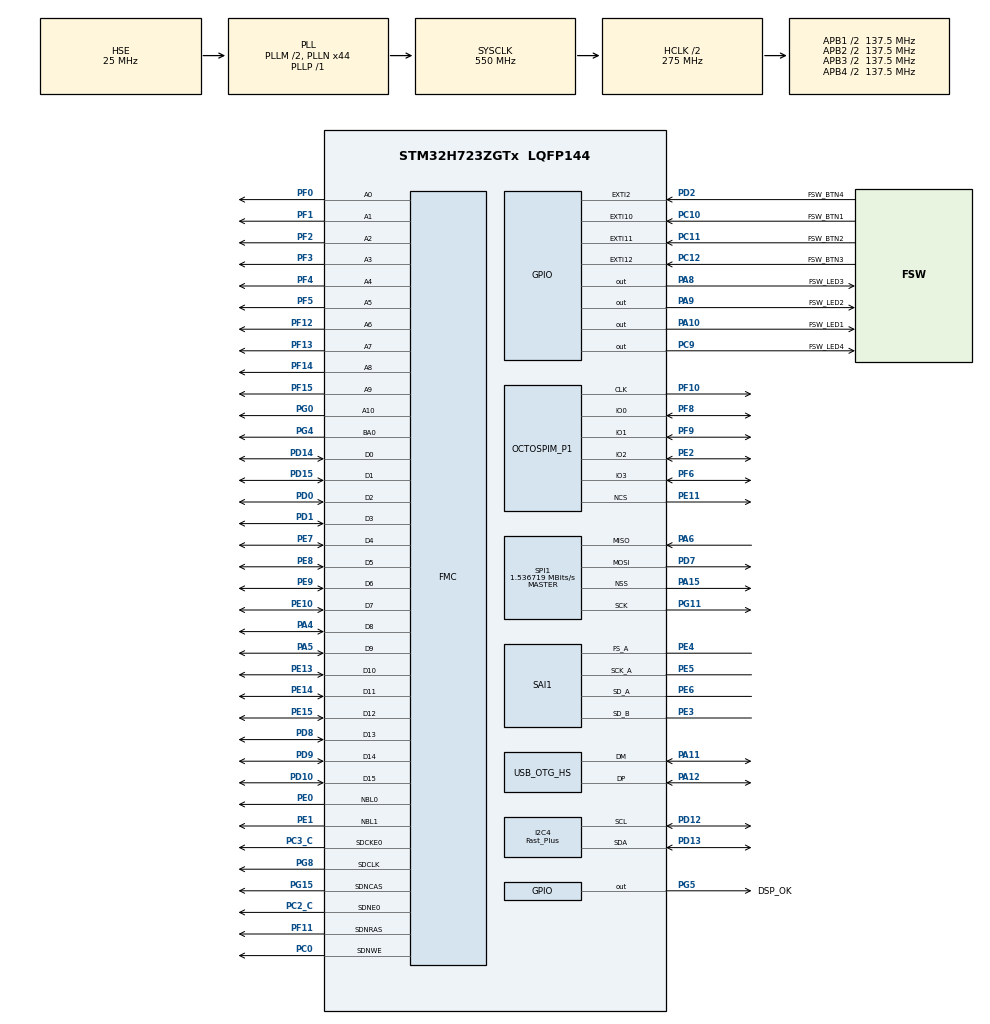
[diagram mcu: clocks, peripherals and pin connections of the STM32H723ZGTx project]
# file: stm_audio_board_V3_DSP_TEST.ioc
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CORTEX_M7.CPU_DCache=Enabled
CORTEX_M7.CPU_ICache=Enabled
CORTEX_M7.MPU_Control=__NULL
CORTEX_M7.default_mode_Activation=1
Dma.Request0=SAI1_A
Dma.Request1=SAI1_B
Dma.SAI1_A.0.Direction=DMA_MEMORY_TO_PERIPH
Dma.SAI1_A.0.EventEnable=DISABLE
Dma.SAI1_A.0.FIFOMode=DMA_FIFOMODE_DISABLE
Dma.SAI1_A.0.Instance=DMA1_Stream0
Dma.SAI1_A.0.MemDataAlignment=DMA_MDATAALIGN_WORD
Dma.SAI1_A.0.MemInc=DMA_MINC_ENABLE
Dma.SAI1_A.0.Mode=DMA_CIRCULAR
Dma.SAI1_A.0.PeriphDataAlignment=DMA_PDATAALIGN_WORD
Dma.SAI1_A.0.PeriphInc=DMA_PINC_DISABLE
Dma.SAI1_A.0.Polarity=HAL_DMAMUX_REQ_GEN_RISING
Dma.SAI1_A.0.Priority=DMA_PRIORITY_VERY_HIGH
Dma.SAI1_A.0.RequestNumber=1
Dma.SAI1_A.0.SignalID=NONE
Dma.SAI1_A.0.SyncEnable=DISABLE
Dma.SAI1_A.0.SyncPolarity=HAL_DMAMUX_SYNC_NO_EVENT
Dma.SAI1_A.0.SyncRequestNumber=1
Dma.SAI1_A.0.SyncSignalID=NONE
Dma.SAI1_B.1.Direction=DMA_PERIPH_TO_MEMORY
Dma.SAI1_B.1.EventEnable=DISABLE
Dma.SAI1_B.1.FIFOMode=DMA_FIFOMODE_DISABLE
Dma.SAI1_B.1.Instance=DMA2_Stream0
Dma.SAI1_B.1.MemDataAlignment=DMA_MDATAALIGN_WORD
Dma.SAI1_B.1.MemInc=DMA_MINC_ENABLE
Dma.SAI1_B.1.Mode=DMA_CIRCULAR
Dma.SAI1_B.1.PeriphDataAlignment=DMA_PDATAALIGN_WORD
Dma.SAI1_B.1.PeriphInc=DMA_PINC_DISABLE
Dma.SAI1_B.1.Polarity=HAL_DMAMUX_REQ_GEN_RISING
Dma.SAI1_B.1.Priority=DMA_PRIORITY_VERY_HIGH
Dma.SAI1_B.1.RequestNumber=1
Dma.SAI1_B.1.SignalID=NONE
Dma.SAI1_B.1.SyncEnable=DISABLE
Dma.SAI1_B.1.SyncPolarity=HAL_DMAMUX_SYNC_NO_EVENT
Dma.SAI1_B.1.SyncRequestNumber=1
Dma.SAI1_B.1.SyncSignalID=NONE
FMC.CASLatency1=FMC_SDRAM_CAS_LATENCY_3
FMC.ExitSelfRefreshDelay1=16
FMC.LoadToActiveDelay1=16
FMC.RCDDelay1=16
FMC.RPDelay1=16
FMC.ReadBurst1=FMC_SDRAM_RBURST_ENABLE
FMC.ReadPipeDelay1=FMC_SDRAM_RPIPE_DELAY_2
FMC.RowCycleDelay1=16
FMC.SDClockPeriod1=FMC_SDRAM_CLOCK_PERIOD_2
FMC.SelfRefreshTime1=16
FMC.WriteRecoveryTime1=16
I2C4.I2C_Speed_Mode=I2C_Fast_Plus
I2C4.OwnAddress=16
I2C4.Timing=0x00601A5C
IWDG1.Prescaler=IWDG_PRESCALER_64
Mcu.Family=STM32H7
Mcu.Name=STM32H723ZGTx
Mcu.Package=LQFP144
NVIC.DMA1_Stream0_IRQn=true\:0\:0\:false\:false\:true\:false\:true\:true
NVIC.DMA2_Stream0_IRQn=true\:0\:0\:false\:false\:true\:false\:true\:true
NVIC.EXTI15_10_IRQn=true\:0\:0\:false\:false\:true\:true\:true\:true
NVIC.EXTI2_IRQn=true\:0\:0\:false\:false\:true\:true\:true\:true
NVIC.I2C4_ER_IRQn=true\:0\:0\:false\:false\:true\:true\:true\:true
NVIC.I2C4_EV_IRQn=true\:0\:0\:false\:false\:true\:true\:true\:true
NVIC.OTG_HS_IRQn=true\:0\:0\:false\:false\:true\:false\:true\:true
NVIC.PriorityGroup=NVIC_PRIORITYGROUP_4
NVIC.TIM2_IRQn=true\:0\:0\:false\:false\:true\:true\:true\:true
OCTOSPI1.ClockPrescaler=4
OCTOSPI1.DeviceSize=24
OCTOSPI1.FifoThreshold=4
OCTOSPI1.SampleShifting=HAL_OSPI_SAMPLE_SHIFTING_HALFCYCLE
PA10.GPIO_Label=FSW_LED1
PA10.Signal=GPIO_Output
PA11.Mode=Device_Only_FS
PA11.Signal=USB_OTG_HS_DM
PA12.Mode=Device_Only_FS
PA12.Signal=USB_OTG_HS_DP
PA15(JTDI).Mode=NSS_Signal_Hard_Output
PA15(JTDI).Signal=SPI1_NSS
PA4.Signal=FMC_D8_DA8
PA5.Signal=FMC_D9_DA9
PA6.Mode=Full_Duplex_Master
PA6.Signal=SPI1_MISO
PA8.GPIO_Label=FSW_LED3
PA8.Signal=GPIO_Output
PA9.GPIO_Label=FSW_LED2
PA9.Signal=GPIO_Output
PC0.GPIO_PuPd=GPIO_NOPULL
PC0.Signal=FMC_SDNWE
PC10.GPIO_Label=FSW_BTN1
PC10.GPIO_ModeDefaultEXTI=GPIO_MODE_IT_RISING_FALLING
PC10.Signal=GPXTI10
PC11.GPIO_Label=FSW_BTN2
PC11.GPIO_ModeDefaultEXTI=GPIO_MODE_IT_RISING_FALLING
PC11.Signal=GPXTI11
PC12.GPIO_Label=FSW_BTN3
PC12.GPIO_ModeDefaultEXTI=GPIO_MODE_IT_RISING_FALLING
PC12.Signal=GPXTI12
PC2_C.GPIO_PuPd=GPIO_NOPULL
PC2_C.Mode=SdramChipSelect1_1
PC2_C.Signal=FMC_SDNE0
PC3_C.GPIO_PuPd=GPIO_NOPULL
PC3_C.Mode=SdramChipSelect1_1
PC3_C.Signal=FMC_SDCKE0
PC9.GPIO_Label=FSW_LED4
PC9.Signal=GPIO_Output
PD0.Signal=FMC_D2_DA2
PD1.Signal=FMC_D3_DA3
PD10.Signal=FMC_D15_DA15
PD12.GPIO_Pu=GPIO_PULLUP
PD12.GPIO_Speed=GPIO_SPEED_FREQ_VERY_HIGH
PD12.Mode=I2C
PD12.Signal=I2C4_SCL
PD13.GPIO_Pu=GPIO_PULLUP
PD13.GPIO_Speed=GPIO_SPEED_FREQ_VERY_HIGH
PD13.Mode=I2C
PD13.Signal=I2C4_SDA
PD14.Signal=FMC_D0_DA0
PD15.Signal=FMC_D1_DA1
PD2.GPIO_Label=FSW_BTN4
PD2.GPIO_ModeDefaultEXTI=GPIO_MODE_IT_RISING_FALLING
PD2.Signal=GPXTI2
PD7.Mode=Full_Duplex_Master
PD7.Signal=SPI1_MOSI
PD8.Signal=FMC_D13_DA13
PD9.Signal=FMC_D14_DA14
PE0.GPIO_PuPd=GPIO_NOPULL
PE0.Signal=FMC_NBL0
PE1.GPIO_PuPd=GPIO_NOPULL
PE1.Signal=FMC_NBL1
PE10.Signal=FMC_D7_DA7
PE11.Mode=OCTOSPI1_Port1_NCS
PE11.Signal=OCTOSPIM_P1_NCS
PE13.Signal=FMC_D10_DA10
PE14.Signal=FMC_D11_DA11
PE15.Signal=FMC_D12_DA12
PE2.Mode=OCTOSPI1_IOL_Port1L
PE2.Signal=OCTOSPIM_P1_IO2
PE3.Mode=SAI_B_SyncSlave
PE3.Signal=SAI1_SD_B
PE4.Mode=SAI_A_Master
PE4.Signal=SAI1_FS_A
PE5.Mode=SAI_A_Master
PE5.Signal=SAI1_SCK_A
PE6.Mode=SAI_A_Master
PE6.Signal=SAI1_SD_A
PE7.Signal=FMC_D4_DA4
PE8.Signal=FMC_D5_DA5
PE9.Signal=FMC_D6_DA6
PF0.Signal=FMC_A0
PF1.Signal=FMC_A1
PF10.Mode=O1_P1_CLK
PF10.Signal=OCTOSPIM_P1_CLK
PF11.GPIO_PuPd=GPIO_NOPULL
PF11.Signal=FMC_SDNRAS
PF12.Signal=FMC_A6
PF13.Signal=FMC_A7
PF14.Signal=FMC_A8
PF15.Signal=FMC_A9
PF2.Signal=FMC_A2
PF3.Signal=FMC_A3
PF4.Signal=FMC_A4
PF5.Signal=FMC_A5
PF6.Mode=OCTOSPI1_IOL_Port1L
PF6.Signal=OCTOSPIM_P1_IO3
PF8.Mode=OCTOSPI1_IOL_Port1L
PF8.Signal=OCTOSPIM_P1_IO0
PF9.Mode=OCTOSPI1_IOL_Port1L
PF9.Signal=OCTOSPIM_P1_IO1
PG0.Signal=FMC_A10
PG11.Mode=Full_Duplex_Master
PG11.Signal=SPI1_SCK
PG15.GPIO_PuPd=GPIO_NOPULL
PG15.Signal=FMC_SDNCAS
PG4.GPIO_PuPd=GPIO_NOPULL
PG4.Signal=FMC_A14_BA0
PG5.GPIO_Label=DSP_OK
PG5.GPIO_ModeDefaultOutputPP=GPIO_MODE_OUTPUT_PP
PG5.GPIO_PuPd=GPIO_PULLUP
PG5.PinState=GPIO_PIN_SET
PG5.Signal=GPIO_Output
PG8.GPIO_PuPd=GPIO_NOPULL
PG8.Signal=FMC_SDCLK
PH0-OSC_IN.Mode=HSE-External-Oscillator
PH0-OSC_IN.Signal=RCC_OSC_IN
PH1-OSC_OUT.Mode=HSE-External-Oscillator
PH1-OSC_OUT.Signal=RCC_OSC_OUT
ProjectManager.HeapSize=0x2000
ProjectManager.StackSize=0x4000
ProjectManager.TargetToolchain=STM32CubeIDE
RCC.ADCFreq_Value=50390625
RCC.APB1Freq_Value=137500000
RCC.APB2Freq_Value=137500000
RCC.APB3Freq_Value=137500000
RCC.APB4Freq_Value=137500000
RCC.CortexFreq_Value=550000000
RCC.D1PPRE=RCC_APB3_DIV2
RCC.D2PPRE1=RCC_APB1_DIV2
RCC.D2PPRE2=RCC_APB2_DIV2
RCC.D3PPRE=RCC_APB4_DIV2
RCC.DIVM1=2
RCC.DIVM3=5
RCC.DIVN1=44
RCC.DIVN3=157
RCC.DIVP1=1
RCC.DIVP3=8
RCC.HCLKFreq_Value=275000000
RCC.HPRE=RCC_HCLK_DIV2
RCC.PLL2FRACN=0
RCC.PLL3FRACN=2950
RCC.PLLFRACN=0
RCC.PLLSourceVirtual=RCC_PLLSOURCE_HSE
RCC.PWR_Regulator_Voltage_Scale=PWR_REGULATOR_VOLTAGE_SCALE0
RCC.SAI1CLockSelection=RCC_SAI1CLKSOURCE_PLL3
RCC.SPI123CLockSelection=RCC_SPI123CLKSOURCE_PLL3
RCC.SYSCLKFreq_VALUE=550000000
RCC.SYSCLKSource=RCC_SYSCLKSOURCE_PLLCLK
RCC.USBCLockSelection=RCC_USBCLKSOURCE_HSI48
RCC.USBFreq_Value=48000000
SAI1.AudioFrequency-SAI_A_Master=SAI_AUDIO_FREQUENCY_48K
SAI1.BasicDataSize-SAI_A_Master=SAI_PROTOCOL_DATASIZE_24BIT
SAI1.BasicDataSize-SAI_B_SyncSlave=SAI_PROTOCOL_DATASIZE_24BIT
SAI1.BasicSlotNumber-SAI_A_Master=8
SAI1.BasicSlotNumber-SAI_B_SyncSlave=8
SAI1.ErrorAudioFreq-SAI_A_Master=0.04 %
SAI1.InitProtocol-SAI_A_Master=Enable
SAI1.InitProtocol-SAI_B_SyncSlave=Enable
SAI1.Instance-SAI_A_Master=SAI$Index_Block_A
SAI1.Instance-SAI_B_SyncSlave=SAI$Index_Block_B
SAI1.MckOutput-SAI_A_Master=SAI_MCK_OUTPUT_DISABLE
SAI1.RealAudioFreq-SAI_A_Master=48.022 KHz
SAI1.VirtualMode-SAI_A_Master=VM_MASTER
SAI1.VirtualMode-SAI_B_SyncSlave=VM_SLAVE
SAI1.VirtualProtocol-SAI_A_BASIC=VM_BASIC_PROTOCOL
SAI1.VirtualProtocol-SAI_B_BASIC=VM_BASIC_PROTOCOL
SH.FMC_A0.0=FMC_A0,11b-sda1
SH.FMC_A1.0=FMC_A1,11b-sda1
SH.FMC_A10.0=FMC_A10,11b-sda1
SH.FMC_A14_BA0.0=FMC_BA0,TwoSdramBanks1
SH.FMC_A2.0=FMC_A2,11b-sda1
SH.FMC_A3.0=FMC_A3,11b-sda1
SH.FMC_A4.0=FMC_A4,11b-sda1
SH.FMC_A5.0=FMC_A5,11b-sda1
SH.FMC_A6.0=FMC_A6,11b-sda1
SH.FMC_A7.0=FMC_A7,11b-sda1
SH.FMC_A8.0=FMC_A8,11b-sda1
SH.FMC_A9.0=FMC_A9,11b-sda1
SH.FMC_D0_DA0.0=FMC_D0,sd-16b-d1
SH.FMC_D10_DA10.0=FMC_D10,sd-16b-d1
SH.FMC_D11_DA11.0=FMC_D11,sd-16b-d1
SH.FMC_D12_DA12.0=FMC_D12,sd-16b-d1
SH.FMC_D13_DA13.0=FMC_D13,sd-16b-d1
SH.FMC_D14_DA14.0=FMC_D14,sd-16b-d1
SH.FMC_D15_DA15.0=FMC_D15,sd-16b-d1
SH.FMC_D1_DA1.0=FMC_D1,sd-16b-d1
SH.FMC_D2_DA2.0=FMC_D2,sd-16b-d1
SH.FMC_D3_DA3.0=FMC_D3,sd-16b-d1
SH.FMC_D4_DA4.0=FMC_D4,sd-16b-d1
SH.FMC_D5_DA5.0=FMC_D5,sd-16b-d1
SH.FMC_D6_DA6.0=FMC_D6,sd-16b-d1
SH.FMC_D7_DA7.0=FMC_D7,sd-16b-d1
SH.FMC_D8_DA8.0=FMC_D8,sd-16b-d1
SH.FMC_D9_DA9.0=FMC_D9,sd-16b-d1
SH.FMC_NBL0.0=FMC_NBL0,Sd2ByteEnable1
SH.FMC_NBL1.0=FMC_NBL1,Sd2ByteEnable1
SH.FMC_SDCLK.0=FMC_SDCLK,11b-sda1
SH.FMC_SDNCAS.0=FMC_SDNCAS,11b-sda1
SH.FMC_SDNRAS.0=FMC_SDNRAS,11b-sda1
SH.FMC_SDNWE.0=FMC_SDNWE,11b-sda1
SPI1.BaudRatePrescaler=SPI_BAUDRATEPRESCALER_64
SPI1.CalculateBaudRate=1.536719 MBits/s
SPI1.DataSize=SPI_DATASIZE_8BIT
SPI1.Direction=SPI_DIRECTION_2LINES
SPI1.Mode=SPI_MODE_MASTER
SPI1.VirtualNSS=VM_NSSHARD
SPI1.VirtualType=VM_MASTER
TIM2.Period=999
TIM2.Prescaler=137
USB_DEVICE.CLASS_NAME_HS=CDC
USB_DEVICE.MANUFACTURER_STRING=SABeffects
USB_DEVICE.PID_CDC_HS=12222
USB_DEVICE.PRODUCT_STRING_CDC_HS=SAB_DSP_APP
USB_DEVICE.VirtualMode=Cdc
USB_DEVICE.VirtualModeHS=Cdc_HS
USB_OTG_HS.VirtualMode-Device_Only_FS=Device_Only_FS
VP_IWDG1_VS_IWDG.Mode=IWDG_Activate
VP_MEMORYMAP_VS_MEMORYMAP.Mode=CurAppReg
VP_OCTOSPI1_VS_quad.Mode=quad_mode
VP_SAI1_VP_$IpInstance_SAIA_SAI_BASIC.Mode=SAI_A_BASIC
VP_SAI1_VP_$IpInstance_SAIB_SAI_BASIC.Mode=SAI_B_BASIC
VP_TIM2_VS_ClockSourceINT.Mode=Internal
VP_USB_DEVICE_VS_USB_DEVICE_CDC_HS.Mode=CDC_HS
board=custom

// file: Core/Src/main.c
/* USER CODE BEGIN Header */
/**
  ******************************************************************************
  * @file           : main.c
  * @brief          : Main program body
  ******************************************************************************
  * @attention
  *
  * Copyright (c) 2024 STMicroelectronics.
  * All rights reserved.
  *
  * This software is licensed under terms that can be found in the LICENSE file
  * in the root directory of this software component.
  * If no LICENSE file comes with this software, it is provided AS-IS.
  *
  ******************************************************************************
  */
/* USER CODE END Header */
#include "main.h"
#include "dma.h"
#include "i2c.h"
#include "iwdg.h"
#include "octospi.h"
#include "sai.h"
#include "spi.h"
#include "tim.h"
#include "usb_device.h"
#include "gpio.h"
#include "fmc.h"

/* USER CODE BEGIN Includes */
#include "stm32h7xx_hal.h"
#include "AD1939_driver.h"
#include "usbd_cdc_if.h"
// #include "usbd_core.h"
//#include "usbd_audio.h"
// #include "usbd_desc.h"
//#include "usbd_audio_if.h"
// #include "usb_device.h"
#include "string.h"
#include <math.h>
#include "arm_math.h"

// SAB specifics------START----
// Effects libs
#include "sab_intercom.h"

#include "FLASH_SECTOR_H7.h"
#include "SAB_custom_fx.h"
#include "SAB_fx_manager.h"
#include "sdram_memory_handler.h"

// SAB specifics------END----
/* USER CODE END Includes */

void SystemClock_Config(void);
void PeriphCommonClock_Config(void);

/* USER CODE BEGIN 0 */

// IN2 - OUT1
//

// ADC4-ADC1 position in TDM I2S
#define IN1_ADC_NUM 3
#define IN2_ADC_NUM 2
#define IN3_ADC_NUM 1
#define IN4_ADC_NUM 0
// DAC position in TDM I2S
#define OUT1_DAC_NUM 7 // ok
#define OUT2_DAC_NUM 6
#define OUT3_DAC_NUM 4
#define OUT4_DAC_NUM 5

volatile uint8_t 			ADC_HALF_COMPLETE_FLAG = 0;
volatile uint8_t 			DAC_HALF_COMPLETE_FLAG = 0;
uint32_t input_i2s_buffer_au32[16];
uint32_t output_i2s_buffer_au32[16];

SAB_IO_HADRWARE_BUFFERS effects_io_port;

void HAL_SAI_TxCpltCallback(SAI_HandleTypeDef *hsai){
	DAC_HALF_COMPLETE_FLAG = 0;
	output_i2s_buffer_au32[8+OUT1_DAC_NUM] = effects_io_port.out1_i32>>8;
	output_i2s_buffer_au32[8+OUT2_DAC_NUM] = effects_io_port.out2_i32>>8;
	output_i2s_buffer_au32[8+OUT3_DAC_NUM] = effects_io_port.out3_i32>>8;
	output_i2s_buffer_au32[8+OUT4_DAC_NUM] = effects_io_port.out4_i32>>8;
  SCB_CleanDCache_by_Addr(output_i2s_buffer_au32, sizeof(output_i2s_buffer_au32)/2);
}
void HAL_SAI_TxHalfCpltCallback(SAI_HandleTypeDef *hsai){
	DAC_HALF_COMPLETE_FLAG = 1;
	output_i2s_buffer_au32[OUT1_DAC_NUM] = effects_io_port.out1_i32>>8;
	output_i2s_buffer_au32[OUT2_DAC_NUM] = effects_io_port.out2_i32>>8;
	output_i2s_buffer_au32[OUT3_DAC_NUM] = effects_io_port.out3_i32>>8;
	output_i2s_buffer_au32[OUT4_DAC_NUM] = effects_io_port.out4_i32>>8;
  SCB_CleanDCache_by_Addr(&output_i2s_buffer_au32[8], sizeof(output_i2s_buffer_au32)/2);
}

volatile uint8_t 			ADC_READY_FLAG = 0;

void HAL_SAI_RxCpltCallback(SAI_HandleTypeDef *hsai){
	ADC_HALF_COMPLETE_FLAG = 0;
	ADC_READY_FLAG = 1;
  SCB_InvalidateDCache_by_Addr(input_i2s_buffer_au32, sizeof(input_i2s_buffer_au32)/2);
	effects_io_port.in1_i32 = input_i2s_buffer_au32[8+IN1_ADC_NUM]<<8;
	effects_io_port.in2_i32 = input_i2s_buffer_au32[8+IN2_ADC_NUM]<<8;
	effects_io_port.in3_i32 = input_i2s_buffer_au32[8+IN3_ADC_NUM]<<8;
	effects_io_port.in4_i32 = input_i2s_buffer_au32[8+IN4_ADC_NUM]<<8;
}
void HAL_SAI_RxHalfCpltCallback(SAI_HandleTypeDef *hsai){
	ADC_HALF_COMPLETE_FLAG = 1;
	ADC_READY_FLAG = 1;

  	SCB_InvalidateDCache_by_Addr(&input_i2s_buffer_au32[8], sizeof(input_i2s_buffer_au32)/2);
	effects_io_port.in1_i32 = input_i2s_buffer_au32[IN1_ADC_NUM]<<8;
	effects_io_port.in2_i32 = input_i2s_buffer_au32[IN2_ADC_NUM]<<8;
	effects_io_port.in3_i32 = input_i2s_buffer_au32[IN3_ADC_NUM]<<8;
	effects_io_port.in4_i32 = input_i2s_buffer_au32[IN4_ADC_NUM]<<8;
}

#define ARRAY_SIZE 96000

/* Ask the resident bootloader to stay in CDC update mode after reset. */
void JumpToBootloader(void)
{
	  HAL_PWR_EnableBkUpAccess();
	  RTC->BKP0R = 0x53414255UL;
	  NVIC_SystemReset();
}

sab_intercom_tst 	 intercom_st __attribute__((section(".noncacheable_data")));
SAB_fx_manager_tst SAB_fx_manager_st;

/*
 * HW BTN INTERRUPT FUNCTIONS ----------------------------
 */

//volatile uint8_t enable_effect = 1;
volatile uint8_t fsw_btn_1_pressed __attribute__((section(".noncacheable_data"))) = 0;
volatile uint8_t fsw_btn_2_pressed __attribute__((section(".noncacheable_data"))) = 0;
volatile uint8_t fsw_btn_3_pressed __attribute__((section(".noncacheable_data"))) = 0;
volatile uint8_t fsw_btn_4_pressed __attribute__((section(".noncacheable_data"))) = 0;
// EXTI Line9 External Interrupt ISR Handler CallBackFun
void HAL_GPIO_EXTI_Callback(uint16_t GPIO_Pin)
{
    if(GPIO_Pin == FSW_BTN1_Pin) // If The INT Source Is EXTI Line9 (A9 Pin)
    {
    	fsw_btn_1_pressed = 1;
    }
    if(GPIO_Pin == FSW_BTN2_Pin) // If The INT Source Is EXTI Line9 (A9 Pin)
	{
		fsw_btn_2_pressed = 1;
	}
    if(GPIO_Pin == FSW_BTN3_Pin) // If The INT Source Is EXTI Line9 (A9 Pin)
	{
		fsw_btn_3_pressed = 1;
	}
    if(GPIO_Pin == FSW_BTN4_Pin) // If The INT Source Is EXTI Line9 (A9 Pin)
	{
		fsw_btn_4_pressed = 1;
	}
}

/*
 * FSW HANDLING ----------------------------
 * Single press: FSW1->mode A, FSW2->B, FSW3->C, FSW4->D.
 * Chord (both pressed within FSW_CHORD_WINDOW_MS): FSW1+FSW2 = preset up,
 *                                                  FSW3+FSW4 = preset down,
 *                                                  FSW2+FSW3 = tuner toggle.
 */
#define FSW_CHORD_WINDOW_MS 80U

static uint8_t  fsw_pending_id_u8    = 0; // switch (1..4) waiting for chord check, 0 = none
static uint32_t fsw_pending_tick_u32 = 0;

static inline fx_active_modes_ten fsw_to_mode(uint8_t id_u8){
	// Physical switch order is A B C D: pin FSW_BTN4 drives the first physical
	// switch, so the pin->mode map is reversed relative to the pin numbers.
	switch(id_u8){
		case 1: return PRESET_MODE_D;
		case 2: return PRESET_MODE_C;
		case 3: return PRESET_MODE_B;
		default: return PRESET_MODE_A;
	}
}

static inline uint8_t fsw_is_chord_pair(uint8_t a_u8, uint8_t b_u8){
	return ((a_u8 == 1 && b_u8 == 2) || (a_u8 == 2 && b_u8 == 1) ||
	        (a_u8 == 3 && b_u8 == 4) || (a_u8 == 4 && b_u8 == 3) ||
	        (a_u8 == 2 && b_u8 == 3) || (a_u8 == 3 && b_u8 == 2)); // FS2+FS3 = tuner
}

// LEDs show the active mode. Physical LED order is A B C D but the pins are
// wired reversed (FSW_LED1 drives the last physical LED), so the map is inverted.
static inline void fsw_leds_update(fx_active_modes_ten mode_en, uint8_t tuner_on_u8){
	if(tuner_on_u8){ // Tuner active -> light the SW2 + SW3 LEDs
		HAL_GPIO_WritePin(FSW_LED1_GPIO_Port, FSW_LED1_Pin, 0);
		HAL_GPIO_WritePin(FSW_LED2_GPIO_Port, FSW_LED2_Pin, 1);
		HAL_GPIO_WritePin(FSW_LED3_GPIO_Port, FSW_LED3_Pin, 1);
		HAL_GPIO_WritePin(FSW_LED4_GPIO_Port, FSW_LED4_Pin, 0);
	} else {
		HAL_GPIO_WritePin(FSW_LED1_GPIO_Port, FSW_LED1_Pin, (mode_en == PRESET_MODE_D) ? 1 : 0);
		HAL_GPIO_WritePin(FSW_LED2_GPIO_Port, FSW_LED2_Pin, (mode_en == PRESET_MODE_C) ? 1 : 0);
		HAL_GPIO_WritePin(FSW_LED3_GPIO_Port, FSW_LED3_Pin, (mode_en == PRESET_MODE_B) ? 1 : 0);
		HAL_GPIO_WritePin(FSW_LED4_GPIO_Port, FSW_LED4_Pin, (mode_en == PRESET_MODE_A) ? 1 : 0);
	}
}

static inline void fsw_process(SAB_fx_manager_tst* mgr_pst){
	uint8_t p1 = fsw_btn_1_pressed, p2 = fsw_btn_2_pressed, p3 = fsw_btn_3_pressed, p4 = fsw_btn_4_pressed;
	if(p1 | p2 | p3 | p4){
		fsw_btn_1_pressed = 0; fsw_btn_2_pressed = 0; fsw_btn_3_pressed = 0; fsw_btn_4_pressed = 0;
		uint32_t now_u32 = HAL_GetTick();

		if((p1 && p2) || (p3 && p4) || (p2 && p3)){ // both seen in the same loop pass -> definite chord
			if(p1 && p2){ SAB_preset_up_pressed(mgr_pst); }
			else if(p3 && p4){ SAB_preset_down_pressed(mgr_pst); }
			else             { SAB_tuner_toggle(mgr_pst); } // FS2+FS3 -> tuner
			fsw_pending_id_u8 = 0;
		} else {
			uint8_t new_id_u8 = p1 ? 1 : (p2 ? 2 : (p3 ? 3 : 4));
			if(fsw_pending_id_u8 != 0 && ((now_u32 - fsw_pending_tick_u32) <= FSW_CHORD_WINDOW_MS)){
				if(fsw_is_chord_pair(fsw_pending_id_u8, new_id_u8)){ // completes a chord
					if(fsw_pending_id_u8 == 1 || new_id_u8 == 1){ SAB_preset_up_pressed(mgr_pst); }
					else if((fsw_pending_id_u8 == 2 && new_id_u8 == 3) || (fsw_pending_id_u8 == 3 && new_id_u8 == 2)){ SAB_tuner_toggle(mgr_pst); } // FS2+FS3 -> tuner
					else                                        { SAB_preset_down_pressed(mgr_pst); }
					fsw_pending_id_u8 = 0;
				} else { // not a chord pair: apply the old press, start pending on the new one
					SAB_set_preset_mode(mgr_pst, fsw_to_mode(fsw_pending_id_u8));
					fsw_pending_id_u8    = new_id_u8;
					fsw_pending_tick_u32 = now_u32;
				}
			} else { // nothing pending (or stale): wait for a possible chord partner
				fsw_pending_id_u8    = new_id_u8;
				fsw_pending_tick_u32 = now_u32;
			}
		}
	}
	// pending single press expired without its chord partner -> apply as mode set
	if(fsw_pending_id_u8 != 0 && ((HAL_GetTick() - fsw_pending_tick_u32) > FSW_CHORD_WINDOW_MS)){
		SAB_set_preset_mode(mgr_pst, fsw_to_mode(fsw_pending_id_u8));
		fsw_pending_id_u8 = 0;
	}
	fsw_leds_update(mgr_pst->preset_mode_st.preset_mode_en, mgr_pst->tuner_active_u8);
}

/*
 * I2C INTERRUPT FUNCTIONS ----------------------------
 */

#define RX_LEN 255
#define TX_LEN 255
uint8_t TX_Buffer [TX_LEN] = "ABCDEF" ; // DATA to send
volatile uint8_t RX_Buffer [RX_LEN] = "ABCDEF" ; // DATA to send
uint8_t tx_counter = 0;
uint8_t rx_counter = 0;
uint8_t commando = 0;
volatile uint8_t rx_reg = 0;

extern void HAL_I2C_ListenCpltCallback (I2C_HandleTypeDef *hi2c)
{
	HAL_I2C_EnableListen_IT(hi2c);
}

void HAL_I2C_ErrorCallback(I2C_HandleTypeDef *hi2c)
{
	if(rx_counter>0){
		intercom_st.register_addr_u8 = rx_reg;
		intercom_st.process_rx_buffer(&intercom_st, RX_Buffer, rx_counter-1);
		rx_counter = 0;
	}
	HAL_I2C_EnableListen_IT(hi2c);
}

extern void HAL_I2C_AddrCallback(I2C_HandleTypeDef *hi2c, uint8_t TransferDirection, uint16_t AddrMatchCode)
{
	if(TransferDirection == I2C_DIRECTION_TRANSMIT)
	{
		HAL_I2C_Slave_Sequential_Receive_IT(hi2c, &intercom_st.register_addr_buffer_u8, 1, I2C_FIRST_FRAME);
		rx_counter = 0;
	}
	else
	{
		intercom_st.register_addr_u8 = rx_reg;
		// if the master wants to READ the data
		HAL_I2C_Slave_Seq_Transmit_IT(hi2c, (uint8_t*)intercom_st.get_reg_data_ptr(&intercom_st), intercom_st.get_reg_data_len(&intercom_st), I2C_FIRST_AND_LAST_FRAME);
	}
}

void HAL_I2C_SlaveRxCpltCallback(I2C_HandleTypeDef *hi2c)
{
	if(0 == rx_counter){
		rx_reg = intercom_st.register_addr_buffer_u8;
	}
	HAL_I2C_Slave_Sequential_Receive_IT(hi2c, RX_Buffer+rx_counter, 1, I2C_NEXT_FRAME);
	rx_counter++;
}

void HAL_I2C_SlaveTxCpltCallback(I2C_HandleTypeDef *hi2c)
{
}

void I2C_Slave_Listen(void) {
	HAL_I2C_Slave_Receive_IT(&hi2c4, RX_Buffer, sizeof(RX_Buffer));
}

// Variables to store cycle counts
uint32_t startCycles, endCycles, totalCycles;
float32_t time_to_process_f32;

typedef struct {
    uint8_t  pressed_u8;          // 0 = OFF, 1 = ON (latched)
    uint32_t counter_ms_u32;  // last time button toggled
    uint32_t timeout_ms_u32;     // auto-off timeout (0 = disabled)
} latch_btn_tst;

// Button states
latch_btn_tst btn1_st = {0,0,500};
latch_btn_tst btn2_st = {0,0,500};
latch_btn_tst btn3_st = {0,0,500};
latch_btn_tst btn4_st = {0,0,500};

void HAL_TIM_PeriodElapsedCallback(TIM_HandleTypeDef* htim)
{
    // HAL_GPIO_TogglePin(DSP_OK_GPIO_Port, DSP_OK_Pin);
}

//#define APP_ADDRESS             0x08020000UL
//#define VECT_TAB_OFFSET 0x00020000U
/* USER CODE END 0 */

int main(void)
{

  /* USER CODE BEGIN 1 */
//	 SCB->VTOR = APP_ADDRESS;
  /* USER CODE END 1 */

  /* Enable the CPU Cache */

  /* Enable I-Cache---------------------------------------------------------*/
  SCB_EnableICache();

  /* Enable D-Cache---------------------------------------------------------*/
  SCB_EnableDCache();

  /* MCU Configuration--------------------------------------------------------*/

  /* Reset of all peripherals, Initializes the Flash interface and the Systick. */
  HAL_Init();

  /* Configure the system clock */
  SystemClock_Config();

  /* Configure the peripherals common clocks */
  PeriphCommonClock_Config();

  /* Initialize all configured peripherals */
  MX_GPIO_Init();
  MX_DMA_Init();
  MX_SAI1_Init();
  MX_SPI1_Init();
  MX_FMC_Init();
  MX_OCTOSPI1_Init();
  MX_I2C4_Init();
  MX_TIM2_Init();
  MX_USB_DEVICE_Init();
  MX_IWDG1_Init();
  /* USER CODE BEGIN 2 */
  HAL_TIM_Base_Start_IT(&htim2);
  // init SAI interface
	HAL_SAI_Transmit_DMA(&hsai_BlockA1, (uint8_t*)output_i2s_buffer_au32, 	16);
	HAL_SAI_Receive_DMA(&hsai_BlockB1, (uint8_t*)input_i2s_buffer_au32, 	16);

  // // init CODEC
	ad1939_init(&hspi1);
	init_intercom(&intercom_st, 0x10,&hi2c4);

  /* USER CODE END 2 */

  /* Infinite loop */
  /* USER CODE BEGIN WHILE */
	HAL_GPIO_WritePin(FSW_LED1_GPIO_Port, FSW_LED1_Pin, 0);
	HAL_GPIO_WritePin(FSW_LED2_GPIO_Port, FSW_LED2_Pin, 0);
	HAL_GPIO_WritePin(FSW_LED3_GPIO_Port, FSW_LED3_Pin, 0);
	HAL_GPIO_WritePin(FSW_LED4_GPIO_Port, FSW_LED4_Pin, 0);

	HAL_I2C_EnableListen_IT(&hi2c4);

	SAB_fx_manager_init(&SAB_fx_manager_st, &intercom_st, &effects_io_port, &fsw_btn_1_pressed, &fsw_btn_2_pressed);

    /* Enable the TRC (Trace) */
    // CoreDebug->DEMCR |= CoreDebug_DEMCR_TRCENA_Msk;

    // /* Unlock the DWT if it is locked (LAR register) */
    // // Some Cortex-M7 MCUs (including STM32H7) require this unlock sequence:
    // DWT->LAR = 0xC5ACCE55;

    // /* Reset the cycle counter */
    // DWT->CYCCNT = 0;

    // /* Enable the cycle counter */
    // DWT->CTRL |= DWT_CTRL_CYCCNTENA_Msk;
    clear_sdram_memory();
    uint32_t last_blink_tick = 0;
  while (1)
  {
//	  HAL_GPIO_WritePin(DSP_OK_GPIO_Port, DSP_OK_Pin, 0);
//	  HAL_GPIO_TogglePin(DSP_OK_GPIO_Port, DSP_OK_Pin);
     if ((HAL_GetTick() - last_blink_tick) >=250)
      {
    	 HAL_IWDG_Refresh(&hiwdg1);
        HAL_GPIO_TogglePin(DSP_OK_GPIO_Port, DSP_OK_Pin);
        last_blink_tick = HAL_GetTick();
      }
      FW_Update_Process();
      if (FW_Update_ResetRequested() != 0U)
      {
//        HAL_Delay(20);
        NVIC_SystemReset();
      }

	 if(intercom_st.save_un.save_command>0){
	 	SAB_save_preset_to_flash(&SAB_fx_manager_st);
	 	intercom_st.save_un.save_command = 0;
	 }
	 if(intercom_st.dsp_fw_update_flg){
	 	JumpToBootloader();
	 }

	   if(ADC_READY_FLAG){
	 	  ADC_READY_FLAG = 0;
	 	  // // Reset the counter to ensure a clean start
	 	  //     DWT->CYCCNT = 0;

	 	  //     // Record the starting cycle count
	 	  //     startCycles = DWT->CYCCNT;
	 	SAB_fx_manager_process(&SAB_fx_manager_st);
	 	 // Record the ending cycle count
	 	    // endCycles = DWT->CYCCNT;

	 	    // // Calculate the difference
	 	    // totalCycles = endCycles - startCycles;

	 	    // time_to_process_f32 = (float)totalCycles/550;
	 	fsw_process(&SAB_fx_manager_st);

	  }
    /* USER CODE END WHILE */

  }
}

void SystemClock_Config(void)
{
  RCC_OscInitTypeDef RCC_OscInitStruct = {0};
  RCC_ClkInitTypeDef RCC_ClkInitStruct = {0};

  /** Supply configuration update enable
  */
  HAL_PWREx_ConfigSupply(PWR_LDO_SUPPLY);

  /** Configure the main internal regulator output voltage
  */
  __HAL_PWR_VOLTAGESCALING_CONFIG(PWR_REGULATOR_VOLTAGE_SCALE0);

  while(!__HAL_PWR_GET_FLAG(PWR_FLAG_VOSRDY)) {}

  /** Initializes the RCC Oscillators according to the specified parameters
  * in the RCC_OscInitTypeDef structure.
  */
  RCC_OscInitStruct.OscillatorType = RCC_OSCILLATORTYPE_HSI48|RCC_OSCILLATORTYPE_LSI
                              |RCC_OSCILLATORTYPE_HSE;
  RCC_OscInitStruct.HSEState = RCC_HSE_ON;
  RCC_OscInitStruct.LSIState = RCC_LSI_ON;
  RCC_OscInitStruct.HSI48State = RCC_HSI48_ON;
  RCC_OscInitStruct.PLL.PLLState = RCC_PLL_ON;
  RCC_OscInitStruct.PLL.PLLSource = RCC_PLLSOURCE_HSE;
  RCC_OscInitStruct.PLL.PLLM = 2;
  RCC_OscInitStruct.PLL.PLLN = 44;
  RCC_OscInitStruct.PLL.PLLP = 1;
  RCC_OscInitStruct.PLL.PLLQ = 2;
  RCC_OscInitStruct.PLL.PLLR = 2;
  RCC_OscInitStruct.PLL.PLLRGE = RCC_PLL1VCIRANGE_3;
  RCC_OscInitStruct.PLL.PLLVCOSEL = RCC_PLL1VCOWIDE;
  RCC_OscInitStruct.PLL.PLLFRACN = 0;
  if (HAL_RCC_OscConfig(&RCC_OscInitStruct) != HAL_OK)
  {
    Error_Handler();
  }

  /** Initializes the CPU, AHB and APB buses clocks
  */
  RCC_ClkInitStruct.ClockType = RCC_CLOCKTYPE_HCLK|RCC_CLOCKTYPE_SYSCLK
                              |RCC_CLOCKTYPE_PCLK1|RCC_CLOCKTYPE_PCLK2
                              |RCC_CLOCKTYPE_D3PCLK1|RCC_CLOCKTYPE_D1PCLK1;
  RCC_ClkInitStruct.SYSCLKSource = RCC_SYSCLKSOURCE_PLLCLK;
  RCC_ClkInitStruct.SYSCLKDivider = RCC_SYSCLK_DIV1;
  RCC_ClkInitStruct.AHBCLKDivider = RCC_HCLK_DIV2;
  RCC_ClkInitStruct.APB3CLKDivider = RCC_APB3_DIV2;
  RCC_ClkInitStruct.APB1CLKDivider = RCC_APB1_DIV2;
  RCC_ClkInitStruct.APB2CLKDivider = RCC_APB2_DIV2;
  RCC_ClkInitStruct.APB4CLKDivider = RCC_APB4_DIV2;

  if (HAL_RCC_ClockConfig(&RCC_ClkInitStruct, FLASH_LATENCY_3) != HAL_OK)
  {
    Error_Handler();
  }
}

void PeriphCommonClock_Config(void)
{
  RCC_PeriphCLKInitTypeDef PeriphClkInitStruct = {0};

  /** Initializes the peripherals clock
  */
  PeriphClkInitStruct.PeriphClockSelection = RCC_PERIPHCLK_SAI1|RCC_PERIPHCLK_SPI1;
  PeriphClkInitStruct.PLL3.PLL3M = 5;
  PeriphClkInitStruct.PLL3.PLL3N = 157;
  PeriphClkInitStruct.PLL3.PLL3P = 8;
  PeriphClkInitStruct.PLL3.PLL3Q = 2;
  PeriphClkInitStruct.PLL3.PLL3R = 2;
  PeriphClkInitStruct.PLL3.PLL3RGE = RCC_PLL3VCIRANGE_2;
  PeriphClkInitStruct.PLL3.PLL3VCOSEL = RCC_PLL3VCOWIDE;
  PeriphClkInitStruct.PLL3.PLL3FRACN = 2950;
  PeriphClkInitStruct.Sai1ClockSelection = RCC_SAI1CLKSOURCE_PLL3;
  PeriphClkInitStruct.Spi123ClockSelection = RCC_SPI123CLKSOURCE_PLL3;
  if (HAL_RCCEx_PeriphCLKConfig(&PeriphClkInitStruct) != HAL_OK)
  {
    Error_Handler();
  }
}

void Error_Handler(void)
{
  /* USER CODE BEGIN Error_Handler_Debug */
	HAL_GPIO_WritePin(GPIOG, GPIO_PIN_5, GPIO_PIN_RESET);
  /* User can add his own implementation to report the HAL error return state */
  __disable_irq();
  while (1)
  {
  }
  /* USER CODE END Error_Handler_Debug */
}
